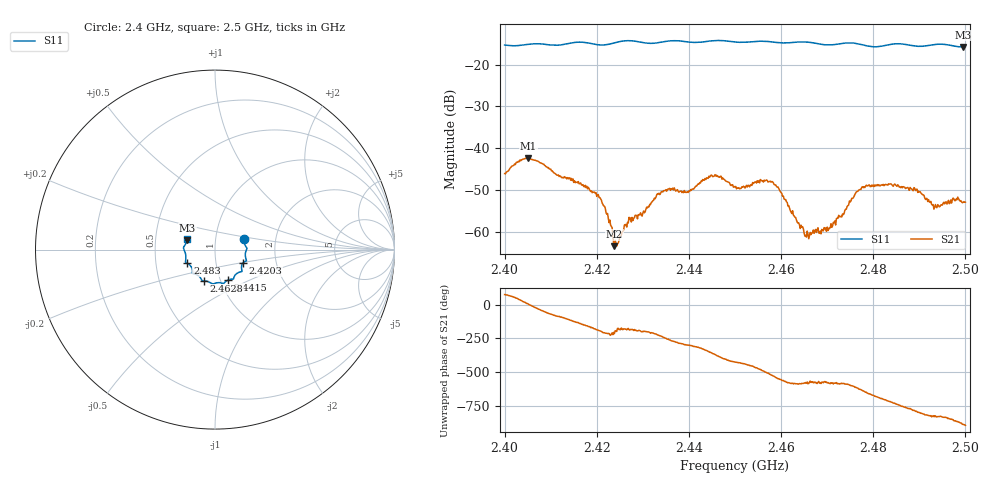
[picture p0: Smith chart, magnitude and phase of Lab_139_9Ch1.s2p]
# Hz S RI R 50
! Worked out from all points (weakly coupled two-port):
!   601 points, 2.4 GHz to 2.5 GHz, reference 50 ohm
!   highest |S21| = -42.36 dB at 2.4052 GHz (marker M1); lowest = -63.5 dB at 2.4238 GHz (marker M2)
!   lowest |S11| = -15.7 dB at 2.4995 GHz (marker M3), VSWR 1.39, Z = 36.4 + j3.84 ohm
!   |S11| at or under -10 dB: start of sweep to end of sweep
!   S12 and S22 are empty: the file has one direction only
!   S11 on the Smith chart (normalised r, x): 2.4 GHz: 1.38, +0.16; 2.4203 GHz: 1.35, -0.21; 2.4415 GHz: 1.09, -0.38; 2.4628 GHz: 0.83, -0.30; 2.483 GHz: 0.73, -0.11; 2.5 GHz: 0.73, +0.09
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2.4e9  0.1624 0.0568  0.00135 0.00478  0 0  0 0
2.405167e9  0.1749 0.0124  0.00761 0.000375  0 0  0 0
2.416667e9  0.1751 -0.0621  -0.00294 -0.00216  0 0  0 0
2.420333e9  0.156 -0.0745  -0.00274 0.000485  0 0  0 0
2.422e9  0.1487 -0.0884  -0.00146 0.000884  0 0  0 0
2.423833e9  0.1481 -0.1062  -0.000557 0.000376  0 0  0 0
2.433333e9  0.1081 -0.1478  -0.00198 0.00201  0 0  0 0
2.4415e9  0.0734 -0.1691  0.00236 0.00261  0 0  0 0
2.445333e9  0.0507 -0.187  0.00459 -0.000247  0 0  0 0
2.45e9  0.0298 -0.1845  0.00147 -0.00308  0 0  0 0
2.457833e9  -0.0229 -0.1862  -0.00367 -0.00141  0 0  0 0
2.462833e9  -0.0621 -0.1742  -0.00116 0.00102  0 0  0 0
2.4655e9  -0.0724 -0.1718  -0.000657 0.00056  0 0  0 0
2.466667e9  -0.0751 -0.1675  -0.000827 0.000501  0 0  0 0
2.470667e9  -0.0985 -0.1413  -0.000811 0.000776  0 0  0 0
2.477333e9  -0.1254 -0.1217  -0.000108 0.00321  0 0  0 0
2.483e9  -0.154 -0.0765  0.00361 0.000679  0 0  0 0
2.483333e9  -0.1561 -0.0754  0.00373 0.000391  0 0  0 0
2.489333e9  -0.1619 -0.0379  0.00123 -0.00296  0 0  0 0
2.493333e9  -0.1741 0.0028  -0.000582 -0.00191  0 0  0 0
2.4995e9  -0.155 0.0513  -0.00217 -0.000602  0 0  0 0
2.5e9  -0.1536 0.0578  -0.00224 -0.000305  0 0  0 0
